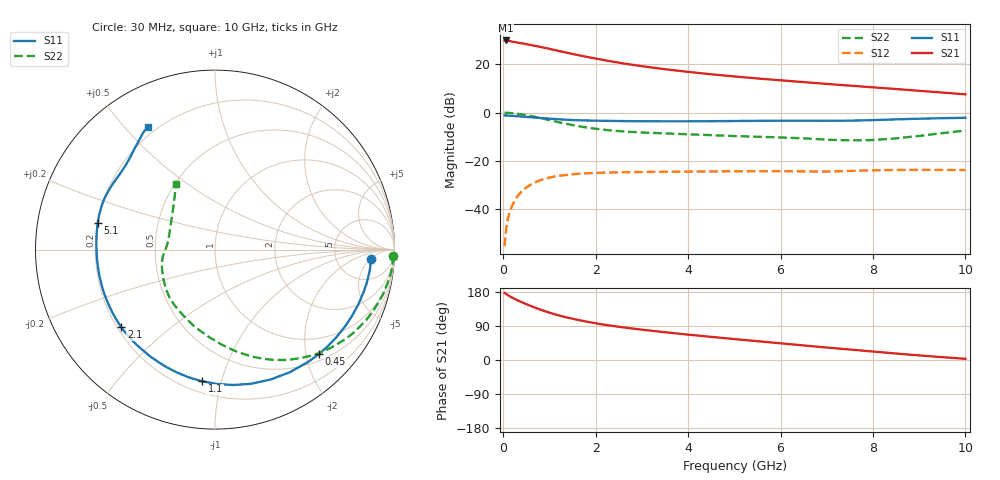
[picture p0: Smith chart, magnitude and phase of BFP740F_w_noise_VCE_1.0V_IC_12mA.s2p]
! Infineon Technologies  Discrete & RF Semiconductors
! BFP740F
! VCE =  1.0 V,  IC =  12 mA
! Common Emitter S-Parameters:  Oct 2012
# GHz  S  MA  R  50
!  f  S11  S21  S12  S22
! GHz  MAG  ANG  MAG  ANG  MAG  ANG  MAG  ANG
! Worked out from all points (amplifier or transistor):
!   99 points, 30 MHz to 10 GHz, reference 50 ohm
!   highest |S21| = 29.9 dB at 50 MHz (marker M1)
!   |S21| within 3 dB of that: start of sweep to 883.7 MHz
!   unconditionally stable (mu >= 1): 6.487 GHz to end of sweep
!   at 350 MHz: K = 0.09, MSG = 31.3 dB, |S12| = -33.8 dB
!   at 3.5 GHz: K = 0.54, MSG = 21.3 dB, |S12| = -24.6 dB
!   at 10 GHz: K = 1.30, MAG = 12.4 dB, |S12| = -23.8 dB
!   lowest NFmin = 0.48 dB at 450 MHz
!   S11 on the Smith chart (normalised r, x): 30 MHz: 12, -5; 450 MHz: 0.63, -2.26; 1.1 GHz: 0.27, -0.87; 2.1 GHz: 0.22, -0.35; 5.1 GHz: 0.20, +0.11; 10 GHz: 0.17, +0.58
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0.03  0.8723 -3.3  31.04 177.0  0.0017 94.8  0.991 -2.0
0.05  0.8704 -5.5  31.29 175.5  0.0027 74.2  0.9925 -3.7
0.11  0.8655 -11.9  30.7 170.5  0.0067 85.0  0.9869 -8.2
0.2  0.8546 -21.2  29.5 164.2  0.0121 78.7  0.969 -14.7
0.25  0.8476 -26.2  28.98 161.1  0.015 75.8  0.9564 -18.2
0.35  0.834 -35.9  27.77 155.3  0.0205 71.4  0.9297 -24.9
0.45  0.821 -45.1  26.75 150.0  0.0256 66.0  0.8992 -31.2
0.6  0.8004 -58.6  25.16 142.4  0.0322 59.5  0.8456 -40.4
0.8  0.7741 -74.9  23.07 133.1  0.0395 51.3  0.7723 -51.5
1  0.749 -89.1  20.95 125.0  0.0449 44.4  0.6989 -61.7
1.1  0.7374 -95.5  19.92 121.3  0.047 41.3  0.6635 -66.4
1.4  0.7087 -112.3  17.23 111.6  0.0514 34.0  0.5757 -78.8
1.7  0.6897 -125.9  15 103.7  0.0543 28.5  0.5081 -89.7
2.1  0.6783 -140.3  12.65 94.8  0.0565 22.8  0.45 -103.2
2.4  0.6704 -148.5  11.24 89.4  0.0575 19.9  0.4218 -111.2
2.7  0.6652 -155.5  10.11 84.5  0.058 17.5  0.4004 -118.1
3.4  0.6597 -168.8  8.161 74.6  0.0592 13.5  0.3737 -130.8
4.2  0.6604 179.4  6.667 64.6  0.06 10.2  0.349 -141.6
5.1  0.6705 167.3  5.506 54.1  0.0606 7.5  0.3246 -153.7
6.7  0.6767 148.0  4.136 36.2  0.0602 4.6  0.2858 -175.8
8.5  0.7233 127.8  3.078 17.1  0.0647 3.0  0.292 146.5
10  0.7806 118.6  2.39 3.1  0.0644 -0.5  0.4253 120.9
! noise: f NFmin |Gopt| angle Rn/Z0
0.45  0.48  0.16  5  0.24
0.9  0.53  0.17  13  0.13
1.5  0.6  0.18  23  0.06
1.9  0.64  0.17  33  0.05
2.4  0.69  0.17  47  0.05
3.5  0.8  0.14  69  0.13
5.5  0.99  0.09  140  0.21
10  1.39  0.38  -115  0.11
